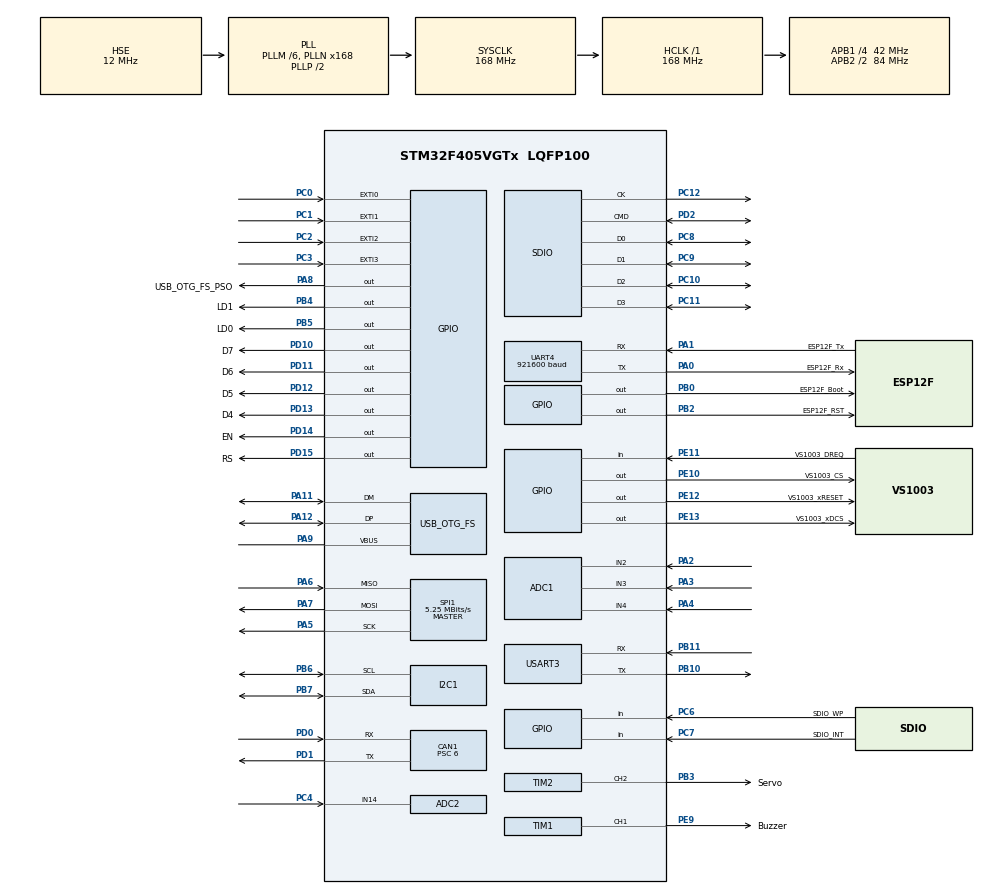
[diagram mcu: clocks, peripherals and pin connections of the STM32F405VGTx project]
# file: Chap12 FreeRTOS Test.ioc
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ADC1.Channel-0\#ChannelRegularConversion=ADC_CHANNEL_2
ADC1.Channel-1\#ChannelRegularConversion=ADC_CHANNEL_3
ADC1.Channel-2\#ChannelRegularConversion=ADC_CHANNEL_4
ADC1.ClockPrescaler=ADC_CLOCK_SYNC_PCLK_DIV4
ADC1.ContinuousConvMode=ENABLE
ADC1.DMAContinuousRequests=ENABLE
ADC1.DiscontinuousConvMode=DISABLE
ADC1.EnableAnalogWatchDog=false
ADC1.InjNumberOfConversion=0
ADC1.NbrOfConversion=3
ADC1.NbrOfConversionFlag=1
ADC1.Rank-0\#ChannelRegularConversion=1
ADC1.Rank-1\#ChannelRegularConversion=2
ADC1.Rank-2\#ChannelRegularConversion=3
ADC1.SamplingTime-0\#ChannelRegularConversion=ADC_SAMPLETIME_84CYCLES
ADC1.SamplingTime-1\#ChannelRegularConversion=ADC_SAMPLETIME_84CYCLES
ADC1.SamplingTime-2\#ChannelRegularConversion=ADC_SAMPLETIME_84CYCLES
ADC1.ScanConvMode=ENABLE
ADC1.master=1
ADC2.Channel-1\#ChannelRegularConversion=ADC_CHANNEL_14
ADC2.ClockPrescaler=ADC_CLOCK_SYNC_PCLK_DIV4
ADC2.ContinuousConvMode=ENABLE
ADC2.DMAContinuousRequests=ENABLE
ADC2.NbrOfConversionFlag=1
ADC2.Rank-1\#ChannelRegularConversion=1
ADC2.SamplingTime-1\#ChannelRegularConversion=ADC_SAMPLETIME_84CYCLES
ADC2.ScanConvMode=DISABLE
CAN1.BS1=CAN_BS1_11TQ
CAN1.BS2=CAN_BS2_2TQ
CAN1.CalculateBaudRate=500000
CAN1.CalculateTimeBit=2000
CAN1.CalculateTimeQuantum=142.85714285714286
CAN1.Prescaler=6
CAN1.SJW=CAN_SJW_1TQ
Dma.ADC1.0.Direction=DMA_PERIPH_TO_MEMORY
Dma.ADC1.0.FIFOMode=DMA_FIFOMODE_DISABLE
Dma.ADC1.0.Instance=DMA2_Stream0
Dma.ADC1.0.MemDataAlignment=DMA_MDATAALIGN_HALFWORD
Dma.ADC1.0.MemInc=DMA_MINC_ENABLE
Dma.ADC1.0.Mode=DMA_CIRCULAR
Dma.ADC1.0.PeriphDataAlignment=DMA_PDATAALIGN_HALFWORD
Dma.ADC1.0.PeriphInc=DMA_PINC_DISABLE
Dma.ADC1.0.Priority=DMA_PRIORITY_LOW
Dma.ADC2.1.Direction=DMA_PERIPH_TO_MEMORY
Dma.ADC2.1.FIFOMode=DMA_FIFOMODE_DISABLE
Dma.ADC2.1.Instance=DMA2_Stream2
Dma.ADC2.1.MemDataAlignment=DMA_MDATAALIGN_HALFWORD
Dma.ADC2.1.MemInc=DMA_MINC_DISABLE
Dma.ADC2.1.Mode=DMA_CIRCULAR
Dma.ADC2.1.PeriphDataAlignment=DMA_PDATAALIGN_HALFWORD
Dma.ADC2.1.PeriphInc=DMA_PINC_DISABLE
Dma.ADC2.1.Priority=DMA_PRIORITY_LOW
Dma.Request0=ADC1
Dma.Request1=ADC2
Dma.Request2=SDIO_RX
Dma.Request3=SDIO_TX
Dma.Request4=UART4_RX
Dma.Request5=UART4_TX
Dma.SDIO_RX.2.Direction=DMA_PERIPH_TO_MEMORY
Dma.SDIO_RX.2.FIFOMode=DMA_FIFOMODE_ENABLE
Dma.SDIO_RX.2.FIFOThreshold=DMA_FIFO_THRESHOLD_FULL
Dma.SDIO_RX.2.Instance=DMA2_Stream3
Dma.SDIO_RX.2.MemBurst=DMA_MBURST_INC4
Dma.SDIO_RX.2.MemDataAlignment=DMA_MDATAALIGN_WORD
Dma.SDIO_RX.2.MemInc=DMA_MINC_ENABLE
Dma.SDIO_RX.2.Mode=DMA_PFCTRL
Dma.SDIO_RX.2.PeriphBurst=DMA_PBURST_INC4
Dma.SDIO_RX.2.PeriphDataAlignment=DMA_PDATAALIGN_WORD
Dma.SDIO_RX.2.PeriphInc=DMA_PINC_DISABLE
Dma.SDIO_RX.2.Priority=DMA_PRIORITY_LOW
Dma.SDIO_TX.3.Direction=DMA_MEMORY_TO_PERIPH
Dma.SDIO_TX.3.FIFOMode=DMA_FIFOMODE_ENABLE
Dma.SDIO_TX.3.FIFOThreshold=DMA_FIFO_THRESHOLD_FULL
Dma.SDIO_TX.3.Instance=DMA2_Stream6
Dma.SDIO_TX.3.MemBurst=DMA_MBURST_INC4
Dma.SDIO_TX.3.MemDataAlignment=DMA_MDATAALIGN_WORD
Dma.SDIO_TX.3.MemInc=DMA_MINC_ENABLE
Dma.SDIO_TX.3.Mode=DMA_PFCTRL
Dma.SDIO_TX.3.PeriphBurst=DMA_PBURST_INC4
Dma.SDIO_TX.3.PeriphDataAlignment=DMA_PDATAALIGN_WORD
Dma.SDIO_TX.3.PeriphInc=DMA_PINC_DISABLE
Dma.SDIO_TX.3.Priority=DMA_PRIORITY_LOW
Dma.UART4_RX.4.Direction=DMA_PERIPH_TO_MEMORY
Dma.UART4_RX.4.FIFOMode=DMA_FIFOMODE_DISABLE
Dma.UART4_RX.4.Instance=DMA1_Stream2
Dma.UART4_RX.4.MemDataAlignment=DMA_MDATAALIGN_BYTE
Dma.UART4_RX.4.MemInc=DMA_MINC_ENABLE
Dma.UART4_RX.4.Mode=DMA_NORMAL
Dma.UART4_RX.4.PeriphDataAlignment=DMA_PDATAALIGN_BYTE
Dma.UART4_RX.4.PeriphInc=DMA_PINC_DISABLE
Dma.UART4_RX.4.Priority=DMA_PRIORITY_HIGH
Dma.UART4_TX.5.Direction=DMA_MEMORY_TO_PERIPH
Dma.UART4_TX.5.FIFOMode=DMA_FIFOMODE_DISABLE
Dma.UART4_TX.5.Instance=DMA1_Stream4
Dma.UART4_TX.5.MemDataAlignment=DMA_MDATAALIGN_BYTE
Dma.UART4_TX.5.MemInc=DMA_MINC_ENABLE
Dma.UART4_TX.5.Mode=DMA_NORMAL
Dma.UART4_TX.5.PeriphDataAlignment=DMA_PDATAALIGN_BYTE
Dma.UART4_TX.5.PeriphInc=DMA_PINC_DISABLE
Dma.UART4_TX.5.Priority=DMA_PRIORITY_LOW
FATFS.USE_DMA_CODE_SD=1
FATFS._MAX_SS=4096
FATFS._USE_LFN=2
FREERTOS.Tasks01=LED2_Task,24,128,StartDefaultTask,Default,NULL,Dynamic,NULL,NULL;LED1_Task,8,128,StartTask02,Default,NULL,Dynamic,NULL,NULL
I2C1.I2C_Mode=I2C_Fast
Mcu.Family=STM32F4
Mcu.Name=STM32F405VGTx
Mcu.Package=LQFP100
NVIC.CAN1_RX0_IRQn=true\:5\:0\:false\:true\:true\:7\:true\:true\:true\:true
NVIC.DMA1_Stream2_IRQn=true\:5\:0\:false\:false\:true\:true\:false\:true\:true
NVIC.DMA1_Stream4_IRQn=true\:5\:0\:false\:false\:true\:true\:false\:true\:true
NVIC.DMA2_Stream0_IRQn=true\:5\:0\:false\:false\:true\:true\:false\:true\:true
NVIC.DMA2_Stream2_IRQn=true\:5\:0\:false\:false\:true\:true\:false\:true\:true
NVIC.DMA2_Stream3_IRQn=true\:5\:0\:false\:false\:true\:true\:false\:true\:true
NVIC.DMA2_Stream6_IRQn=true\:5\:0\:false\:false\:true\:true\:false\:true\:true
NVIC.EXTI0_IRQn=true\:5\:0\:false\:true\:true\:1\:true\:true\:true\:true
NVIC.EXTI1_IRQn=true\:5\:0\:false\:true\:true\:2\:true\:true\:true\:true
NVIC.EXTI2_IRQn=true\:5\:0\:false\:true\:true\:3\:true\:true\:true\:true
NVIC.EXTI3_IRQn=true\:5\:0\:false\:true\:true\:6\:true\:true\:true\:true
NVIC.OTG_FS_IRQn=true\:5\:0\:false\:false\:true\:true\:false\:true\:true
NVIC.PriorityGroup=NVIC_PRIORITYGROUP_4
NVIC.SDIO_IRQn=true\:5\:0\:false\:false\:true\:true\:true\:true\:true
NVIC.TIM6_DAC_IRQn=true\:5\:0\:false\:true\:true\:5\:true\:true\:true\:true
NVIC.TIM7_IRQn=true\:15\:0\:false\:false\:true\:false\:true\:true\:true
NVIC.TimeBase=TIM7_IRQn
NVIC.TimeBaseIP=TIM7
NVIC.UART4_IRQn=true\:5\:0\:false\:false\:true\:true\:true\:true\:true
NVIC.USART3_IRQn=true\:5\:0\:false\:true\:true\:4\:true\:true\:true\:true
PA0-WKUP.GPIO_Label=ESP12F_Rx
PA0-WKUP.Mode=Asynchronous
PA0-WKUP.Signal=UART4_TX
PA1.GPIO_Label=ESP12F_Tx
PA1.Mode=Asynchronous
PA1.Signal=UART4_RX
PA11.Mode=Host_Only
PA11.Signal=USB_OTG_FS_DM
PA12.Mode=Host_Only
PA12.Signal=USB_OTG_FS_DP
PA13.Mode=Serial_Wire
PA13.Signal=SYS_JTMS-SWDIO
PA14.Mode=Serial_Wire
PA14.Signal=SYS_JTCK-SWCLK
PA2.Signal=ADCx_IN2
PA3.Signal=ADCx_IN3
PA4.Signal=ADCx_IN4
PA5.Mode=Full_Duplex_Master
PA5.Signal=SPI1_SCK
PA6.Mode=Full_Duplex_Master
PA6.Signal=SPI1_MISO
PA7.Mode=Full_Duplex_Master
PA7.Signal=SPI1_MOSI
PA8.GPIO_Label=USB_OTG_FS_PSO
PA8.Signal=GPIO_Output
PA9.Mode=Activate_VBUS
PA9.Signal=USB_OTG_FS_VBUS
PB0.GPIO_Label=ESP12F_Boot
PB0.Signal=GPIO_Output
PB10.Mode=Asynchronous
PB10.Signal=USART3_TX
PB11.Mode=Asynchronous
PB11.Signal=USART3_RX
PB2.GPIO_Label=ESP12F_RST
PB2.Signal=GPIO_Output
PB3.GPIO_Label=Servo
PB3.Signal=S_TIM2_CH2
PB4.GPIO_Label=LD1
PB4.Signal=GPIO_Output
PB5.GPIO_Label=LD0
PB5.Signal=GPIO_Output
PB6.Mode=I2C
PB6.Signal=I2C1_SCL
PB7.Mode=I2C
PB7.Signal=I2C1_SDA
PC0.GPIO_ModeDefaultEXTI=GPIO_MODE_IT_FALLING
PC0.Signal=GPXTI0
PC1.GPIO_ModeDefaultEXTI=GPIO_MODE_IT_FALLING
PC1.Signal=GPXTI1
PC10.Mode=SD_4_bits_Wide_bus
PC10.Signal=SDIO_D2
PC11.Mode=SD_4_bits_Wide_bus
PC11.Signal=SDIO_D3
PC12.Mode=SD_4_bits_Wide_bus
PC12.Signal=SDIO_CK
PC2.GPIO_ModeDefaultEXTI=GPIO_MODE_IT_FALLING
PC2.Signal=GPXTI2
PC3.Signal=GPXTI3
PC4.Signal=ADCx_IN14
PC6.GPIO_Label=SDIO_WP
PC6.Signal=GPIO_Input
PC7.GPIO_Label=SDIO_INT
PC7.Signal=GPIO_Input
PC8.Mode=SD_4_bits_Wide_bus
PC8.Signal=SDIO_D0
PC9.Mode=SD_4_bits_Wide_bus
PC9.Signal=SDIO_D1
PD0.Mode=CAN_Activate
PD0.Signal=CAN1_RX
PD1.Mode=CAN_Activate
PD1.Signal=CAN1_TX
PD10.GPIO_Label=D7
PD10.Signal=GPIO_Output
PD11.GPIO_Label=D6
PD11.Signal=GPIO_Output
PD12.GPIO_Label=D5
PD12.Signal=GPIO_Output
PD13.GPIO_Label=D4
PD13.Signal=GPIO_Output
PD14.GPIO_Label=EN
PD14.Signal=GPIO_Output
PD15.GPIO_Label=RS
PD15.Signal=GPIO_Output
PD2.Mode=SD_4_bits_Wide_bus
PD2.Signal=SDIO_CMD
PE10.GPIO_Label=VS1003_CS
PE10.Signal=GPIO_Output
PE11.GPIO_Label=VS1003_DREQ
PE11.Signal=GPIO_Input
PE12.GPIO_Label=VS1003_xRESET
PE12.Signal=GPIO_Output
PE13.GPIO_Label=VS1003_xDCS
PE13.Signal=GPIO_Output
PE9.GPIO_Label=Buzzer
PE9.Signal=S_TIM1_CH1
PH0-OSC_IN.Mode=HSE-External-Oscillator
PH0-OSC_IN.Signal=RCC_OSC_IN
PH1-OSC_OUT.Mode=HSE-External-Oscillator
PH1-OSC_OUT.Signal=RCC_OSC_OUT
ProjectManager.HeapSize=0x200
ProjectManager.StackSize=0x400
ProjectManager.TargetToolchain=STM32CubeIDE
RCC.48MHZClocksFreq_Value=48000000
RCC.AHBFreq_Value=168000000
RCC.APB1CLKDivider=RCC_HCLK_DIV4
RCC.APB1Freq_Value=42000000
RCC.APB1TimFreq_Value=84000000
RCC.APB2CLKDivider=RCC_HCLK_DIV2
RCC.APB2Freq_Value=84000000
RCC.APB2TimFreq_Value=168000000
RCC.CortexFreq_Value=168000000
RCC.HCLKFreq_Value=168000000
RCC.HSE_VALUE=12000000
RCC.HSI_VALUE=16000000
RCC.LSE_VALUE=32768
RCC.PLLM=6
RCC.PLLN=168
RCC.PLLQ=7
RCC.SYSCLKFreq_VALUE=168000000
RCC.SYSCLKSource=RCC_SYSCLKSOURCE_PLLCLK
RCC.VCOOutputFreq_Value=336000000
SH.ADCx_IN14.0=ADC2_IN14,IN14
SH.ADCx_IN2.0=ADC1_IN2,IN2
SH.ADCx_IN3.0=ADC1_IN3,IN3
SH.ADCx_IN4.0=ADC1_IN4,IN4
SH.S_TIM1_CH1.0=TIM1_CH1,PWM Generation1 CH1
SH.S_TIM2_CH2.0=TIM2_CH2,PWM Generation2 CH2
SPI1.BaudRatePrescaler=SPI_BAUDRATEPRESCALER_16
SPI1.CalculateBaudRate=5.25 MBits/s
SPI1.Direction=SPI_DIRECTION_2LINES
SPI1.Mode=SPI_MODE_MASTER
SPI1.VirtualType=VM_MASTER
TIM1.Channel-PWM\ Generation1\ CH1=TIM_CHANNEL_1
TIM1.Period=999
TIM1.Prescaler=167
TIM1.Pulse-PWM\ Generation1\ CH1=500
TIM2.Channel-PWM\ Generation2\ CH2=TIM_CHANNEL_2
TIM2.Period=10000-1
TIM2.Prescaler=168-1
TIM2.Pulse-PWM\ Generation2\ CH2=100
TIM4.Prescaler=83
TIM6.AutoReloadPreload=TIM_AUTORELOAD_PRELOAD_DISABLE
TIM6.Period=10000-1
TIM6.Prescaler=8400-1
UART4.BaudRate=921600
UART4.VirtualMode=Asynchronous
USART3.VirtualMode=VM_ASYNC
USB_HOST.USBH_HandleTypeDef-MSC_FS=hUsbHostFS
USB_HOST.USBH_USE_OS-MSC_FS=0
USB_HOST.VirtualModeFS=Msc
USB_OTG_FS.Sof_enable=DISABLE
USB_OTG_FS.VirtualMode=Host_Only
USB_OTG_FS.phy_itface=HCD_PHY_EMBEDDED
VP_FATFS_VS_SDIO.Mode=SDIO
VP_FATFS_VS_USB.Mode=USB
VP_FREERTOS_VS_CMSIS_V2.Mode=CMSIS_V2
VP_SYS_VS_tim7.Mode=TIM7
VP_TIM1_VS_ClockSourceINT.Mode=Internal
VP_TIM2_VS_ClockSourceINT.Mode=Internal
VP_TIM4_VS_ClockSourceINT.Mode=Internal
VP_TIM6_VS_ClockSourceINT.Mode=Enable_Timer
VP_USB_HOST_VS_USB_HOST_MSC_FS.Mode=MSC_FS
board=custom

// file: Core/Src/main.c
/* USER CODE BEGIN Header */
/**
  ******************************************************************************
  * @file           : main.c
  * @brief          : Main program body
  ******************************************************************************
  * @attention
  *
  * Copyright (c) 2025 STMicroelectronics.
  * All rights reserved.
  *
  * This software is licensed under terms that can be found in the LICENSE file
  * in the root directory of this software component.
  * If no LICENSE file comes with this software, it is provided AS-IS.
  *
  ******************************************************************************
  */
/* USER CODE END Header */
#include "main.h"
#include "cmsis_os.h"
#include "adc.h"
#include "can.h"
#include "dma.h"
#include "fatfs.h"
#include "i2c.h"
#include "sdio.h"
#include "spi.h"
#include "tim.h"
#include "usart.h"
#include "usb_host.h"
#include "gpio.h"

void SystemClock_Config(void);
void MX_FREERTOS_Init(void);
static void MX_NVIC_Init(void);

int main(void)
{

  /* MCU Configuration--------------------------------------------------------*/

  /* Reset of all peripherals, Initializes the Flash interface and the Systick. */
  HAL_Init();

  /* Configure the system clock */
  SystemClock_Config();

  /* Initialize all configured peripherals */
  MX_GPIO_Init();
  MX_DMA_Init();
  MX_USART3_UART_Init();
  MX_TIM4_Init();
  MX_ADC1_Init();
  MX_ADC2_Init();
  MX_TIM1_Init();
  MX_TIM6_Init();
  MX_TIM2_Init();
  MX_FATFS_Init();
  MX_SDIO_SD_Init();
  MX_SPI1_Init();
  MX_I2C1_Init();
  MX_CAN1_Init();
  MX_UART4_Init();

  /* Initialize interrupts */
  MX_NVIC_Init();

  /* Init scheduler */
  osKernelInitialize();  /* Call init function for freertos objects (in cmsis_os2.c) */
  MX_FREERTOS_Init();

  /* Start scheduler */
  osKernelStart();

  /* We should never get here as control is now taken by the scheduler */

  /* Infinite loop */
  while (1)
  {

    /* USER CODE BEGIN 3 */
//    ATC_Loop(&hatc);
  }
  /* USER CODE END 3 */
}

void SystemClock_Config(void)
{
  RCC_OscInitTypeDef RCC_OscInitStruct = {0};
  RCC_ClkInitTypeDef RCC_ClkInitStruct = {0};

  /** Configure the main internal regulator output voltage
  */
  __HAL_RCC_PWR_CLK_ENABLE();
  __HAL_PWR_VOLTAGESCALING_CONFIG(PWR_REGULATOR_VOLTAGE_SCALE1);

  /** Initializes the RCC Oscillators according to the specified parameters
  * in the RCC_OscInitTypeDef structure.
  */
  RCC_OscInitStruct.OscillatorType = RCC_OSCILLATORTYPE_HSE;
  RCC_OscInitStruct.HSEState = RCC_HSE_ON;
  RCC_OscInitStruct.PLL.PLLState = RCC_PLL_ON;
  RCC_OscInitStruct.PLL.PLLSource = RCC_PLLSOURCE_HSE;
  RCC_OscInitStruct.PLL.PLLM = 6;
  RCC_OscInitStruct.PLL.PLLN = 168;
  RCC_OscInitStruct.PLL.PLLP = RCC_PLLP_DIV2;
  RCC_OscInitStruct.PLL.PLLQ = 7;
  if (HAL_RCC_OscConfig(&RCC_OscInitStruct) != HAL_OK)
  {
    Error_Handler();
  }

  /** Initializes the CPU, AHB and APB buses clocks
  */
  RCC_ClkInitStruct.ClockType = RCC_CLOCKTYPE_HCLK|RCC_CLOCKTYPE_SYSCLK
                              |RCC_CLOCKTYPE_PCLK1|RCC_CLOCKTYPE_PCLK2;
  RCC_ClkInitStruct.SYSCLKSource = RCC_SYSCLKSOURCE_PLLCLK;
  RCC_ClkInitStruct.AHBCLKDivider = RCC_SYSCLK_DIV1;
  RCC_ClkInitStruct.APB1CLKDivider = RCC_HCLK_DIV4;
  RCC_ClkInitStruct.APB2CLKDivider = RCC_HCLK_DIV2;

  if (HAL_RCC_ClockConfig(&RCC_ClkInitStruct, FLASH_LATENCY_5) != HAL_OK)
  {
    Error_Handler();
  }
}

/**
  * @brief NVIC Configuration.
  * @retval None
  */
static void MX_NVIC_Init(void)
{
  /* EXTI0_IRQn interrupt configuration */
  HAL_NVIC_SetPriority(EXTI0_IRQn, 5, 0);
  HAL_NVIC_EnableIRQ(EXTI0_IRQn);
  /* EXTI1_IRQn interrupt configuration */
  HAL_NVIC_SetPriority(EXTI1_IRQn, 5, 0);
  HAL_NVIC_EnableIRQ(EXTI1_IRQn);
  /* EXTI2_IRQn interrupt configuration */
  HAL_NVIC_SetPriority(EXTI2_IRQn, 5, 0);
  HAL_NVIC_EnableIRQ(EXTI2_IRQn);
  /* USART3_IRQn interrupt configuration */
  HAL_NVIC_SetPriority(USART3_IRQn, 5, 0);
  HAL_NVIC_EnableIRQ(USART3_IRQn);
  /* TIM6_DAC_IRQn interrupt configuration */
  HAL_NVIC_SetPriority(TIM6_DAC_IRQn, 5, 0);
  HAL_NVIC_EnableIRQ(TIM6_DAC_IRQn);
  /* EXTI3_IRQn interrupt configuration */
  HAL_NVIC_SetPriority(EXTI3_IRQn, 5, 0);
  HAL_NVIC_EnableIRQ(EXTI3_IRQn);
  /* CAN1_RX0_IRQn interrupt configuration */
  HAL_NVIC_SetPriority(CAN1_RX0_IRQn, 5, 0);
  HAL_NVIC_EnableIRQ(CAN1_RX0_IRQn);
}

void HAL_TIM_PeriodElapsedCallback(TIM_HandleTypeDef *htim)
{
  if (htim->Instance == TIM7)
  {
    HAL_IncTick();
  }
}

void Error_Handler(void)
{
  /* USER CODE BEGIN Error_Handler_Debug */
  /* User can add his own implementation to report the HAL error return state */
  __disable_irq();
  while (1)
  {
	  HAL_GPIO_TogglePin(LD1_GPIO_Port, LD1_Pin);
	  HAL_Delay(1000);
  }
  /* USER CODE END Error_Handler_Debug */
}

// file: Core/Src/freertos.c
/* USER CODE BEGIN Header */
/**
  ******************************************************************************
  * File Name          : freertos.c
  * Description        : Code for freertos applications
  ******************************************************************************
  * @attention
  *
  * Copyright (c) 2026 STMicroelectronics.
  * All rights reserved.
  *
  * This software is licensed under terms that can be found in the LICENSE file
  * in the root directory of this software component.
  * If no LICENSE file comes with this software, it is provided AS-IS.
  *
  ******************************************************************************
  */
/* USER CODE END Header */

#include "FreeRTOS.h"
#include "task.h"
#include "main.h"
#include "cmsis_os.h"

/* USER CODE BEGIN Includes */
#include "stdio.h"
#include "string.h"
#include "CLCD.h"
#include "VS1003.h"
#include "AS6221.h"

#include "atc.h"
#include "esp8266.h"

/* USER CODE END Includes */

/* USER CODE BEGIN PD */
#define AS6221_ADDR1        (0x48 << 1)
#define AS6221_ADDR2        (0x49 << 1)

/* USER CODE END PD */

/* USER CODE BEGIN PM */
int _write(int file, char* p, int len){
	HAL_UART_Transmit(&huart3, p, len, 10);
	return len;
}

/* USER CODE END PM */

/* USER CODE BEGIN Variables */
osSemaphoreId_t myBinarySemHandle;

/* USER CODE END Variables */
/* Definitions for LED2_Task */
osThreadId_t LED2_TaskHandle;
const osThreadAttr_t LED2_Task_attributes = {
  .name = "LED2_Task",
  .stack_size = 128 * 4,
  .priority = (osPriority_t) osPriorityNormal,
};
/* Definitions for LED1_Task */
osThreadId_t LED1_TaskHandle;
const osThreadAttr_t LED1_Task_attributes = {
  .name = "LED1_Task",
  .stack_size = 128 * 4,
  .priority = (osPriority_t) osPriorityLow,
};

/* USER CODE BEGIN FunctionPrototypes */
long map(long x, long in_min, long in_max, long out_min, long out_max) {
  return (x - in_min) * (out_max - out_min) / (in_max - in_min) + out_min;
}

/* USER CODE END FunctionPrototypes */

void StartDefaultTask(void *argument);
void StartTask02(void *argument);

extern void MX_USB_HOST_Init(void);
void MX_FREERTOS_Init(void); /* (MISRA C 2004 rule 8.1) */

void MX_FREERTOS_Init(void) {

  /* USER CODE BEGIN RTOS_SEMAPHORES */
  /* add semaphores, ... */
	myBinarySemHandle = osSemaphoreNew(1, 0, NULL);
  /* USER CODE END RTOS_SEMAPHORES */

  /* Create the thread(s) */
  /* creation of LED2_Task */
  LED2_TaskHandle = osThreadNew(StartDefaultTask, NULL, &LED2_Task_attributes);

  /* creation of LED1_Task */
  LED1_TaskHandle = osThreadNew(StartTask02, NULL, &LED1_Task_attributes);

}

void StartDefaultTask(void *argument)
{
  /* init code for USB_HOST */
  MX_USB_HOST_Init();
  /* USER CODE BEGIN StartDefaultTask */
  /* Infinite loop */
  for(;;)
  {
	  HAL_GPIO_TogglePin(LD0_GPIO_Port, LD0_Pin);
    osDelay(500);

    // 세마포어 대기
//    if (osSemaphoreAcquire(myBinarySemHandle, osWaitForever) == osOK) {
//
//
//		printf("Button Pressed! Task Woke Up!\r\n");
//		HAL_GPIO_TogglePin(LD0_GPIO_Port, LD0_Pin);
//	}
  }
  /* USER CODE END StartDefaultTask */
}

void StartTask02(void *argument)
{
  /* USER CODE BEGIN StartTask02 */
  /* Infinite loop */
  for(;;)
  {
	  HAL_GPIO_TogglePin(LD1_GPIO_Port, LD1_Pin);
    osDelay(1000);
  }
  /* USER CODE END StartTask02 */
}

/* USER CODE BEGIN Application */
void HAL_GPIO_EXTI_Callback(uint16_t GPIO_Pin)
{
    if(GPIO_Pin == GPIO_PIN_0)
    {
        // 세마포어가 생성되었는지 확인 후 신호 보내기
        if (myBinarySemHandle != NULL)
        {
            osSemaphoreRelease(myBinarySemHandle);
        }
    }
}

/* USER CODE END Application */
